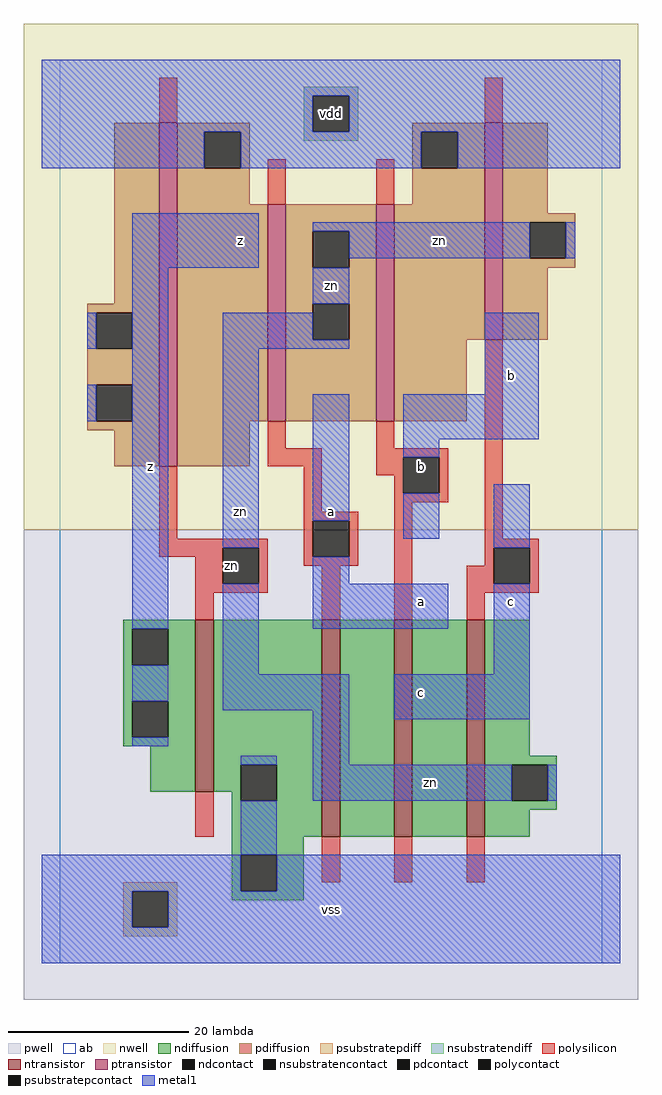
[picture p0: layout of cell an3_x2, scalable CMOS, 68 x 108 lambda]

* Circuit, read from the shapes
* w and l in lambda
.subckt an3_x2 a b c vdd vss z zn
M1 vss zn z vss nfet w=19 l=2
M2 n1 a vss vss nfet w=24 l=2
M3 n2 b n1 vss nfet w=24 l=2
M4 zn c n2 vss nfet w=24 l=2
M5 vdd zn z vdd pfet w=38 l=2
M6 zn a vdd vdd pfet w=24 l=2
M7 vdd b zn vdd pfet w=24 l=2
M8 zn c vdd vdd pfet w=24 l=2
.ends

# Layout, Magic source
magic
tech scmos
<< ab >>
rect 0 0 60 100
<< pwell >>
rect -4 -4 64 48
<< nwell >>
rect -4 48 64 104
<< polysilicon >>
rect 11 93 13 98
rect 47 93 49 98
rect 23 84 25 89
rect 35 84 37 89
rect 23 57 25 60
rect 35 57 37 60
rect 23 55 29 57
rect 11 47 13 55
rect 27 50 29 55
rect 35 56 43 57
rect 35 54 38 56
rect 37 52 38 54
rect 42 52 43 56
rect 37 51 43 52
rect 27 49 33 50
rect 11 46 23 47
rect 11 45 18 46
rect 15 42 18 45
rect 22 42 23 46
rect 27 45 28 49
rect 32 45 33 49
rect 27 44 33 45
rect 15 41 23 42
rect 15 38 17 41
rect 29 38 31 44
rect 37 38 39 51
rect 47 47 49 69
rect 47 46 53 47
rect 47 44 48 46
rect 45 42 48 44
rect 52 42 53 46
rect 45 41 53 42
rect 45 38 47 41
rect 15 14 17 19
rect 29 9 31 14
rect 37 9 39 14
rect 45 9 47 14
<< ndiffusion >>
rect 7 37 15 38
rect 7 33 8 37
rect 12 33 15 37
rect 7 29 15 33
rect 7 25 8 29
rect 12 25 15 29
rect 7 24 15 25
rect 10 19 15 24
rect 17 22 29 38
rect 17 19 20 22
rect 19 18 20 19
rect 24 18 29 22
rect 19 14 29 18
rect 31 14 37 38
rect 39 14 45 38
rect 47 23 52 38
rect 47 22 55 23
rect 47 18 50 22
rect 54 18 55 22
rect 47 17 55 18
rect 47 14 52 17
rect 19 12 27 14
rect 19 8 20 12
rect 24 8 27 12
rect 19 7 27 8
<< pdiffusion >>
rect 6 73 11 93
rect 3 72 11 73
rect 3 68 4 72
rect 8 68 11 72
rect 3 64 11 68
rect 3 60 4 64
rect 8 60 11 64
rect 3 59 11 60
rect 6 55 11 59
rect 13 92 21 93
rect 13 88 16 92
rect 20 88 21 92
rect 39 92 47 93
rect 13 84 21 88
rect 39 88 40 92
rect 44 88 47 92
rect 39 84 47 88
rect 13 60 23 84
rect 25 81 35 84
rect 25 77 28 81
rect 32 77 35 81
rect 25 73 35 77
rect 25 69 28 73
rect 32 69 35 73
rect 25 60 35 69
rect 37 69 47 84
rect 49 83 54 93
rect 49 82 57 83
rect 49 78 52 82
rect 56 78 57 82
rect 49 77 57 78
rect 49 69 54 77
rect 37 60 45 69
rect 13 55 21 60
<< metal1 >>
rect -2 96 62 100
rect -2 92 28 96
rect 32 92 62 96
rect -2 88 16 92
rect 20 88 40 92
rect 44 88 62 92
rect 8 77 22 83
rect 28 81 52 82
rect 32 78 52 81
rect 56 78 57 82
rect 3 68 4 72
rect 3 60 4 64
rect 8 37 12 77
rect 28 73 32 77
rect 8 29 12 33
rect 18 69 28 72
rect 18 68 32 69
rect 18 46 22 68
rect 47 63 53 72
rect 18 32 22 42
rect 28 49 32 63
rect 38 58 53 63
rect 38 56 42 58
rect 38 47 42 52
rect 28 42 32 45
rect 48 46 52 53
rect 28 37 43 42
rect 48 32 52 42
rect 18 28 32 32
rect 8 24 12 25
rect 20 22 24 23
rect 28 22 32 28
rect 37 27 52 32
rect 28 18 50 22
rect 54 18 55 22
rect 20 12 24 18
rect -2 8 20 12
rect 24 8 62 12
rect -2 4 8 8
rect 12 4 62 8
rect -2 0 62 4
<< ntransistor >>
rect 15 19 17 38
rect 29 14 31 38
rect 37 14 39 38
rect 45 14 47 38
<< ptransistor >>
rect 11 55 13 93
rect 23 60 25 84
rect 35 60 37 84
rect 47 69 49 93
<< polycontact >>
rect 38 52 42 56
rect 18 42 22 46
rect 28 45 32 49
rect 48 42 52 46
<< ndcontact >>
rect 8 33 12 37
rect 8 25 12 29
rect 20 18 24 22
rect 50 18 54 22
rect 20 8 24 12
<< pdcontact >>
rect 4 68 8 72
rect 4 60 8 64
rect 16 88 20 92
rect 40 88 44 92
rect 28 77 32 81
rect 28 69 32 73
rect 52 78 56 82
<< psubstratepcontact >>
rect 8 4 12 8
<< nsubstratencontact >>
rect 28 92 32 96
<< psubstratepdiff >>
rect 7 8 13 9
rect 7 4 8 8
rect 12 4 13 8
rect 7 3 13 4
<< nsubstratendiff >>
rect 27 96 33 97
rect 27 92 28 96
rect 32 92 33 96
rect 27 91 33 92
<< labels >>
rlabel polycontact 19 44 19 44 6 zn
rlabel metal1 10 55 10 55 6 z
rlabel metal1 20 50 20 50 6 zn
rlabel metal1 20 80 20 80 6 z
rlabel metal1 30 6 30 6 6 vss
rlabel metal1 40 40 40 40 6 a
rlabel metal1 40 30 40 30 6 c
rlabel metal1 30 50 30 50 6 a
rlabel polycontact 40 55 40 55 6 b
rlabel metal1 30 75 30 75 6 zn
rlabel nsubstratencontact 30 94 30 94 6 vdd
rlabel metal1 41 20 41 20 6 zn
rlabel metal1 50 40 50 40 6 c
rlabel metal1 50 65 50 65 6 b
rlabel metal1 42 80 42 80 6 zn
<< end >>
